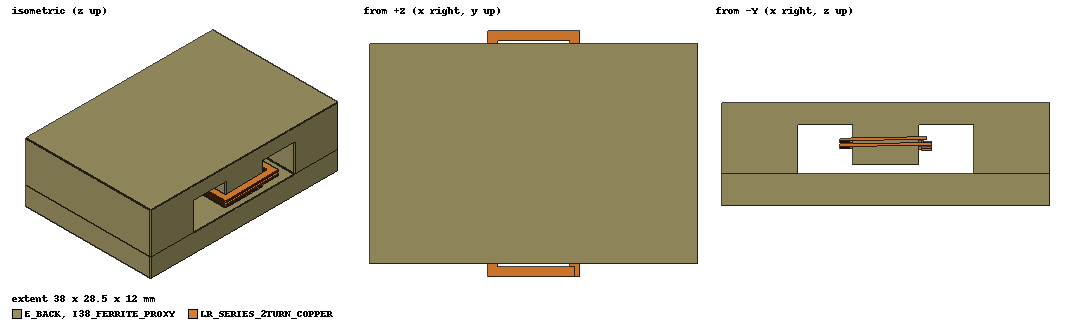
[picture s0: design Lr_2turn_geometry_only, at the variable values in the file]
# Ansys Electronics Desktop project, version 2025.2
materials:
  vacuum: permittivity=1
  ferrite: permittivity=12 permeability=1000 conductivity=0.01
  copper: permeability=0.999991 conductivity=58000000

design Lr_2turn_geometry_only (Maxwell 3D, Magnetostatic, model units mm)
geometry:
  I38_FERRITE_PROXY [ferrite] = box(corner=(-19mm, -12.7mm, 0mm), size=(38mm, 25.4mm, 3.75mm))
  E_BACK [ferrite] = box(corner=(-19mm, -12.7mm, 9.4mm), size=(38mm, 25.4mm, 2.6mm))
  E_LEFT = box(corner=(-19mm, -12.7mm, 3.75mm), size=(8.83mm, 25.4mm, 5.65mm))
  E_RIGHT = box(corner=(10.17mm, -12.7mm, 3.75mm), size=(8.83mm, 25.4mm, 5.65mm))
  E_CENTRE = box(corner=(-3.82mm, -12.7mm, 4.781mm), size=(7.64mm, 25.4mm, 4.619mm))
  E_BACK.unite(E_LEFT, E_RIGHT, E_CENTRE)
  LR_SERIES_2TURN_COPPER [copper] = polyline(xyz in mm: (4.77, -13.65, 6.5) (4.77, 13.65, 6.67) (-4.77, 13.65, 6.84) (-4.77, -13.65, 7.01) (4.77, -13.65, 7.18) (4.77, 13.65, 7.35) (-4.77, 13.65, 7.52) (-4.77, -13.65, 7.69) (4.77, -13.65, 7.86), section rectangle width=1.2mm height=0.3mm)
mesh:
  initial mesh: GlobalCurvilinear{Apply}
